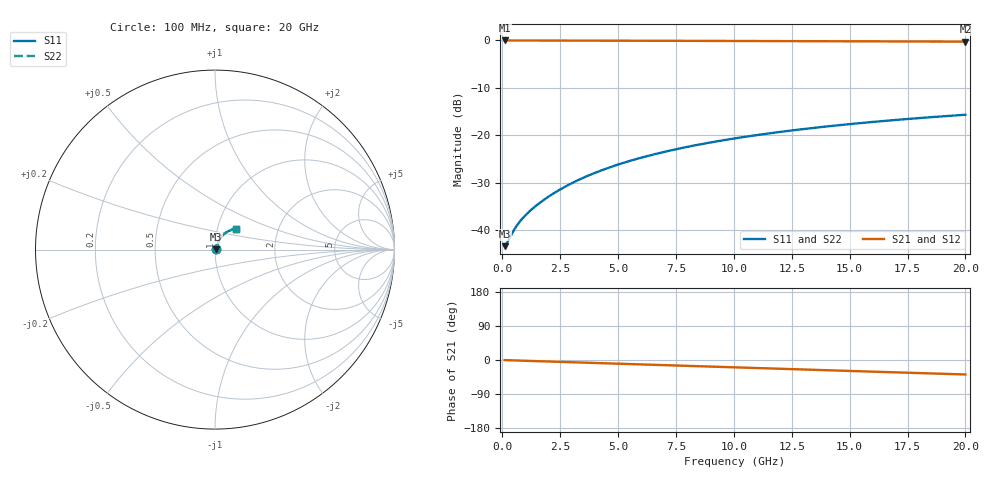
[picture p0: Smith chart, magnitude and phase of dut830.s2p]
! Touchstone file exported from HFSS 2026.1.0
!  File:  C:/ffzhzh/LocalFiles/Ansys_Project_Files/temp_train_TMRDL_830_1783156617_55132.aedt
!  Generated:  05:18:12 PM Jul  4, 2026
!  Design:  TMRDL
!  Project:  temp_train_TMRDL_830_1783156617_55132
! Variables:
!  h_bsmrdl = 2um
!  h_ox = 20um
!  h_rdl = 5um
!  h_sub = 80um
!  h_tmrdl = 2.48um
!  h_tsv = 80um
!  h_via = 3um
!  l_bsmrdl = 300um
!  l_sub = 1066.24um
!  l_tmrdl = 666.24um
!  m_sub = 200um
!  pitch = 20.29um
!  r_tsv = 6um
!  s_tmrdl = 10um
!  w_bsmrdl = 18um
!  w_sub = 500um
!  w_tmrdl = 14.69um
!  x_tsv_center1 = 673.585um
!  x_tsv_center2 = 991.585um
!  x_tsv_center3 = 1672.515um
!  x_tsv_center4 = 1990.515um
!  x_tsv_center5 = 2671.445um
!  x_tsv_center6 = 2989.445um
# GHz S MA R 50.000000
! Terminal data exported
! Port[1] = TM_RDL1_1_T1
! Port[2] = TM_RDL1_1_T2
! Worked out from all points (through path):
!   200 points, 100 MHz to 20 GHz, reference 50 ohm
!   highest |S21| = -0.06 dB at 100 MHz (marker M1); lowest = -0.3 dB at 20 GHz (marker M2)
!   group delay of S21, straight-line fit = 5.29 ps
!   lowest |S11| = -43.4 dB at 100 MHz (marker M3), VSWR 1.01, Z = 50.7 + j0.141 ohm
!   |S11| at or under -10 dB: start of sweep to end of sweep
!   |S22| runs from -43.4 to -15.7 dB; largest |S21 - S12| = 2.8e-15
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0.1  0.006762 11.9  0.9934 -0.2  0.9934 -0.2  0.006762 11.9
! Gamma 0 0 0 0
! Port Impedance 50 0 50 0
0.2  0.007331 21.9  0.9932 -0.4  0.9932 -0.4  0.007331 21.9
0.5  0.00996 39.0  0.9924 -1.1  0.9924 -1.1  0.00996 39.0
0.7  0.01177 44.5  0.9918 -1.5  0.9918 -1.5  0.01177 44.5
0.8  0.01264 46.5  0.9915 -1.7  0.9915 -1.7  0.01264 46.5
1  0.01431 49.8  0.9911 -2.1  0.9911 -2.1  0.01431 49.9
1.3  0.01675 53.8  0.9907 -2.6  0.9907 -2.6  0.01675 53.8
1.8  0.02084 58.6  0.9901 -3.6  0.9901 -3.6  0.02084 58.6
2.3  0.02506 61.9  0.9897 -4.6  0.9897 -4.6  0.02506 61.9
2.9  0.03026 64.3  0.9893 -5.7  0.9893 -5.7  0.03026 64.4
3.5  0.03556 65.8  0.9888 -6.9  0.9888 -6.9  0.03556 65.8
4.2  0.0418 66.6  0.9882 -8.3  0.9882 -8.3  0.0418 66.6
5  0.04895 66.8  0.9875 -9.8  0.9875 -9.8  0.04894 66.8
5.9  0.05695 66.4  0.9865 -11.6  0.9865 -11.6  0.05695 66.4
6.8  0.06488 65.6  0.9855 -13.3  0.9855 -13.3  0.06487 65.7
8.4  0.07868 63.7  0.9834 -16.4  0.9834 -16.4  0.07867 63.8
10.1  0.09287 61.2  0.981 -19.6  0.981 -19.6  0.09285 61.3
11.7  0.1057 58.7  0.9785 -22.7  0.9785 -22.7  0.1057 58.8
13.4  0.1188 55.9  0.9758 -25.9  0.9758 -25.9  0.1188 56.0
15  0.1306 53.2  0.9732 -28.9  0.9732 -28.9  0.1305 53.3
16.7  0.1425 50.3  0.9705 -32.1  0.9705 -32.1  0.1425 50.4
20  0.1639 44.6  0.9652 -38.2  0.9652 -38.2  0.1638 44.7
